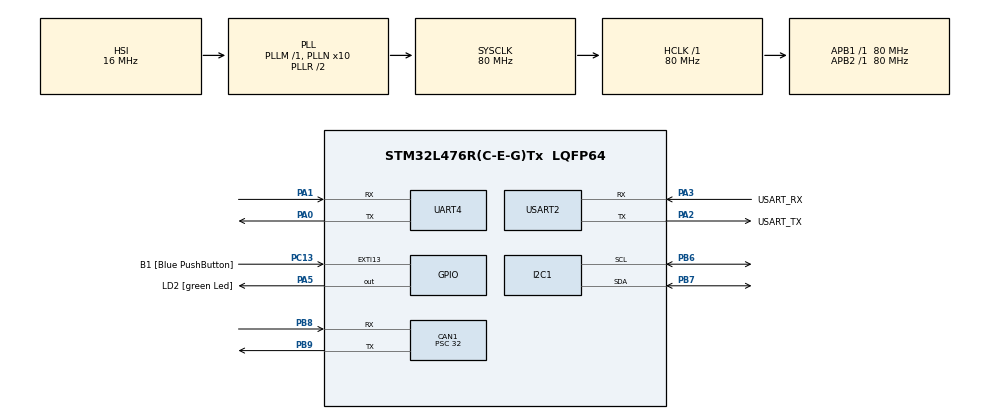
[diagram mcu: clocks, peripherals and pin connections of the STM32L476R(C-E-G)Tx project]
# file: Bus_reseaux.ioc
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CAN1.BS1=CAN_BS1_3TQ
CAN1.CalculateBaudRate=500000
CAN1.CalculateTimeBit=2000.00
CAN1.CalculateTimeQuantum=400.0
CAN1.Prescaler=32
I2C1.Timing=0x10909CEC
Mcu.Family=STM32L4
Mcu.Name=STM32L476R(C-E-G)Tx
Mcu.Package=LQFP64
NVIC.CAN1_TX_IRQn=true\:0\:0\:false\:false\:true\:true\:true
NVIC.I2C1_EV_IRQn=true\:0\:0\:false\:false\:true\:true\:true
NVIC.PriorityGroup=NVIC_PRIORITYGROUP_4
NVIC.UART4_IRQn=true\:0\:0\:false\:false\:true\:true\:true
NVIC.USART2_IRQn=true\:0\:0\:false\:false\:true\:true\:true
PA0.Mode=Asynchronous
PA0.Signal=UART4_TX
PA1.Mode=Asynchronous
PA1.Signal=UART4_RX
PA13\ (JTMS-SWDIO).GPIO_Label=TMS
PA13\ (JTMS-SWDIO).Mode=Serial_Wire
PA13\ (JTMS-SWDIO).Signal=SYS_JTMS-SWDIO
PA14\ (JTCK-SWCLK).GPIO_Label=TCK
PA14\ (JTCK-SWCLK).Mode=Serial_Wire
PA14\ (JTCK-SWCLK).Signal=SYS_JTCK-SWCLK
PA2.GPIO_Label=USART_TX
PA2.GPIO_Mode=GPIO_MODE_AF_PP
PA2.GPIO_PuPd=GPIO_NOPULL
PA2.GPIO_Speed=GPIO_SPEED_FREQ_VERY_HIGH
PA2.Mode=Asynchronous
PA2.Signal=USART2_TX
PA3.GPIO_Label=USART_RX
PA3.GPIO_Mode=GPIO_MODE_AF_PP
PA3.GPIO_PuPd=GPIO_NOPULL
PA3.GPIO_Speed=GPIO_SPEED_FREQ_VERY_HIGH
PA3.Mode=Asynchronous
PA3.Signal=USART2_RX
PA5.GPIO_Label=LD2 [green Led]
PA5.GPIO_ModeDefaultOutputPP=GPIO_MODE_OUTPUT_PP
PA5.GPIO_PuPd=GPIO_NOPULL
PA5.GPIO_Speed=GPIO_SPEED_FREQ_LOW
PA5.Signal=GPIO_Output
PB3\ (JTDO-TRACESWO).GPIO_Label=SWO
PB3\ (JTDO-TRACESWO).Signal=SYS_JTDO-SWO
PB6.Mode=I2C
PB6.Signal=I2C1_SCL
PB7.Mode=I2C
PB7.Signal=I2C1_SDA
PB8.Mode=CAN_Activate
PB8.Signal=CAN1_RX
PB9.Mode=CAN_Activate
PB9.Signal=CAN1_TX
PC13.GPIO_Label=B1 [Blue PushButton]
PC13.GPIO_ModeDefaultEXTI=GPIO_MODE_IT_FALLING
PC13.GPIO_PuPd=GPIO_NOPULL
PC13.Signal=GPXTI13
PC14-OSC32_IN\ (PC14).Mode=LSE-External-Oscillator
PC14-OSC32_IN\ (PC14).Signal=RCC_OSC32_IN
PC15-OSC32_OUT\ (PC15).Mode=LSE-External-Oscillator
PC15-OSC32_OUT\ (PC15).Signal=RCC_OSC32_OUT
PH0-OSC_IN\ (PH0).Signal=RCC_OSC_IN
PH1-OSC_OUT\ (PH1).Signal=RCC_OSC_OUT
ProjectManager.HeapSize=0x200
ProjectManager.StackSize=0x400
ProjectManager.TargetToolchain=STM32CubeIDE
RCC.ADCFreq_Value=64000000
RCC.AHBFreq_Value=80000000
RCC.APB1Freq_Value=80000000
RCC.APB1TimFreq_Value=80000000
RCC.APB2Freq_Value=80000000
RCC.APB2TimFreq_Value=80000000
RCC.CortexFreq_Value=80000000
RCC.HCLKFreq_Value=80000000
RCC.HSE_VALUE=8000000
RCC.HSI_VALUE=16000000
RCC.MSI_VALUE=4000000
RCC.PLLN=10
RCC.PLLSourceVirtual=RCC_PLLSOURCE_HSI
RCC.PREFETCH_ENABLE=1
RCC.SYSCLKFreq_VALUE=80000000
RCC.SYSCLKSource=RCC_SYSCLKSOURCE_PLLCLK
RCC.USBFreq_Value=64000000
RCC.VCOOutputFreq_Value=160000000
USART2.VirtualMode-Asynchronous=VM_ASYNC
board=NUCLEO-L476RG

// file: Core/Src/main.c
/* USER CODE BEGIN Header */
/**
 ******************************************************************************
 * @file           : main.c
 * @brief          : Main program body
 ******************************************************************************
 * @attention
 *
 * <h2><center>&copy; Copyright (c) 2021 STMicroelectronics.
 * All rights reserved.</center></h2>
 *
 * This software component is licensed by ST under BSD 3-Clause license,
 * the "License"; You may not use this file except in compliance with the
 * License. You may obtain a copy of the License at:
 *                        opensource.org/licenses/BSD-3-Clause
 *
 ******************************************************************************
 */
/* USER CODE END Header */
#include "main.h"
#include "can.h"
#include "i2c.h"
#include "usart.h"
#include "gpio.h"

/* USER CODE BEGIN Includes */
#include <stdio.h>
#include <stdlib.h>
//#include "shell.h"
#include <string.h>
/* USER CODE END Includes */

/* USER CODE BEGIN PV */
int it_uart = 0;
int it_uart4 = 0;
char uart_rx_buffer[64];
char uart_tx_buffer[64];
char uart4_rx_buffer[64];
char uart4_tx_buffer[64];
char prompt[256]="Guerin/Perret >>> \r\n";
char start[256]="Starting... \r\n";
uint8_t i2c_t_buffer[1] = {0xD0} ;
uint8_t i2c_r_buffer[1];
uint8_t i2c_t_conf_buffer[2] = {0xF4, 0x57} ;
uint8_t i2c_t_calibration_buffer[1]={0x88}; /*creating buffer to get calibration values
with I2C HAL functions
 */

uint8_t i2c_r_conf_buffer[1];
uint8_t i2c_t_data_buffer[1]= {0xF7};
uint8_t i2c_r_data_buffer[6];
uint32_t pres;
uint32_t temp;
uint32_t p;
uint32_t t,t_comp;

/* USER CODE END PV */

void SystemClock_Config(void);

int main(void)
{

	/* MCU Configuration--------------------------------------------------------*/

	/* Reset of all peripherals, Initializes the Flash interface and the Systick. */
	HAL_Init();

	/* Configure the system clock */
	SystemClock_Config();

	/* Initialize all configured peripherals */
	MX_GPIO_Init();
	MX_USART2_UART_Init();
	MX_CAN1_Init();
	MX_UART4_Init();
	MX_I2C1_Init();
	/* USER CODE BEGIN 2 */
	printf("Starting...\r\n");
	HAL_UART_Receive_IT(&huart2, uart_rx_buffer, 1); //activer l'UART STM<-->Ordi
	HAL_UART_Receive_IT(&huart4, uart_rx_buffer, 1); //activer l'UART STM<-->Raspberry

	//identification du BMP280
	HAL_I2C_Master_Transmit(&hi2c1, 0x77<<1, i2c_t_buffer, 1, HAL_MAX_DELAY);
	HAL_I2C_Master_Receive(&hi2c1, 0x77<<1, i2c_r_buffer, 1, HAL_MAX_DELAY);
	printf("%x \r\n", i2c_r_buffer[0]);

	//configuration du BMP280
	HAL_I2C_Master_Transmit(&hi2c1, 0x77<<1, i2c_t_conf_buffer, 2, HAL_MAX_DELAY);
	HAL_I2C_Master_Receive(&hi2c1, 0x77<<1, i2c_r_conf_buffer, 1, HAL_MAX_DELAY);
	printf("%x \r\n", i2c_r_conf_buffer[0]);
	//configuring CAN
	uint8_t message[2]={0x54,0x01};
	uint8_t zero[2]={0x54,0x00};
	uint32_t mail;

	HAL_CAN_Start (&hcan1);
	CAN_TxHeaderTypeDef TxHeader;
	TxHeader.StdId=0x61;
	TxHeader.IDE=CAN_ID_STD;
	TxHeader.RTR=CAN_RTR_DATA;
	TxHeader.DLC=2;
	TxHeader.TransmitGlobalTime=DISABLE;
	//Setting motor to zero
	HAL_CAN_AddTxMessage(&hcan1, &TxHeader, (uint8_t) {0x00,0x00} , &mail);
	HAL_Delay(100);

	/* USER CODE END 2 */

	/* Infinite loop */
	/* USER CODE BEGIN WHILE */
	while (1)
	{
		HAL_CAN_AddTxMessage(&hcan1, &TxHeader, message, &mail);
		//Send_CAN_Message(message,&hcan1,pHeader,mail);
		//to code with tasks
		HAL_Delay(1000);
		HAL_CAN_AddTxMessage(&hcan1, &TxHeader, zero, &mail);
		HAL_Delay(1000);
		//Send_CAN_Message(zero,&hcan1,pHeader,mail);

		//echo - affichage sur la console
		if(it_uart==1){
			//uart_tx_buffer[1] = uart_rx_buffer[1];
			//printf("Lettre = %c \r\n", uart_tx_buffer[1]);
			it_uart = 0;

		}

		//interprétation des commandes envoyées par la raspberry et réponse du STM
		if(it_uart4==1){
			HAL_I2C_Master_Transmit(&hi2c1, 0x77<<1, i2c_t_data_buffer, 1, 50);
			HAL_I2C_Master_Receive(&hi2c1, 0x77<<1, i2c_r_data_buffer, 6, 50);
			pres = i2c_r_data_buffer[0]<<12 | i2c_r_data_buffer[1]<<4 | i2c_r_data_buffer[2]>>4;
			temp = i2c_r_data_buffer[3]<<12 | i2c_r_data_buffer[4]<<4 | i2c_r_data_buffer[5]>>4;
			//Rotation du moteur selon la température extérieure
			if(uart4_rx_buffer[0]=='G'){
				if(uart4_rx_buffer[4]=='T'){
					//on demande T donc on veut renvoyer 'T=val' donc on doit mettre ça dans le buffer à transmettre
					printf("T = %x H \r\n", temp);
					/*uart4_tx_buffer[0]='T';
					uart4_tx_buffer[1]='=';
					uart4_tx_buffer[2]=temp;
					HAL_UART_Transmit(&huart4, uart4_tx_buffer, 3, 50);*/
				}
				if(uart4_rx_buffer[4]=='P'){
					//on demande P donc on veut renvoyer 'P=val' donc on doit mettre ça dans le buffer à transmettre
					printf("P = %x H \r\n", pres);
					/*uart4_tx_buffer[0]='P';
					uart4_tx_buffer[1]='=';
					uart4_tx_buffer[2]=pres;
					HAL_UART_Transmit(&huart4, uart4_tx_buffer, 3, 50);*/
				}
			}
			it_uart4 =0;
		}

		/*Affichage de la temp et de la press non compensés*/
		HAL_I2C_Master_Transmit(&hi2c1, 0x77<<1, i2c_t_data_buffer, 1, 50);
		HAL_I2C_Master_Receive(&hi2c1, 0x77<<1, i2c_r_data_buffer, 6, 50);
		p = i2c_r_data_buffer[0]<<12 | i2c_r_data_buffer[1]<<4 | i2c_r_data_buffer[2]>>4;
		t = i2c_r_data_buffer[3]<<12 | i2c_r_data_buffer[4]<<4 | i2c_r_data_buffer[5]>>4;
		printf("Debut \r\n");
		printf("Pression : %d et Temperature %d \r\n", p, t);
		//compensation maison
		t_comp=i2c_r_data_buffer[3]<<12/100;
		printf("Temperature compensée: %d \r\n",t_comp);
		printf("Fin \r\n");
		HAL_Delay(5000);

		/* USER CODE END WHILE */

	}
}
void SystemClock_Config(void)
{
	RCC_OscInitTypeDef RCC_OscInitStruct = {0};
	RCC_ClkInitTypeDef RCC_ClkInitStruct = {0};

	/** Configure the main internal regulator output voltage
	 */
	if (HAL_PWREx_ControlVoltageScaling(PWR_REGULATOR_VOLTAGE_SCALE1) != HAL_OK)
	{
		Error_Handler();
	}
	/** Initializes the RCC Oscillators according to the specified parameters
	 * in the RCC_OscInitTypeDef structure.
	 */
	RCC_OscInitStruct.OscillatorType = RCC_OSCILLATORTYPE_HSI;
	RCC_OscInitStruct.HSIState = RCC_HSI_ON;
	RCC_OscInitStruct.HSICalibrationValue = RCC_HSICALIBRATION_DEFAULT;
	RCC_OscInitStruct.PLL.PLLState = RCC_PLL_ON;
	RCC_OscInitStruct.PLL.PLLSource = RCC_PLLSOURCE_HSI;
	RCC_OscInitStruct.PLL.PLLM = 1;
	RCC_OscInitStruct.PLL.PLLN = 10;
	RCC_OscInitStruct.PLL.PLLP = RCC_PLLP_DIV7;
	RCC_OscInitStruct.PLL.PLLQ = RCC_PLLQ_DIV2;
	RCC_OscInitStruct.PLL.PLLR = RCC_PLLR_DIV2;
	if (HAL_RCC_OscConfig(&RCC_OscInitStruct) != HAL_OK)
	{
		Error_Handler();
	}
	/** Initializes the CPU, AHB and APB buses clocks
	 */
	RCC_ClkInitStruct.ClockType = RCC_CLOCKTYPE_HCLK|RCC_CLOCKTYPE_SYSCLK
			|RCC_CLOCKTYPE_PCLK1|RCC_CLOCKTYPE_PCLK2;
	RCC_ClkInitStruct.SYSCLKSource = RCC_SYSCLKSOURCE_PLLCLK;
	RCC_ClkInitStruct.AHBCLKDivider = RCC_SYSCLK_DIV1;
	RCC_ClkInitStruct.APB1CLKDivider = RCC_HCLK_DIV1;
	RCC_ClkInitStruct.APB2CLKDivider = RCC_HCLK_DIV1;

	if (HAL_RCC_ClockConfig(&RCC_ClkInitStruct, FLASH_LATENCY_4) != HAL_OK)
	{
		Error_Handler();
	}
}

/* USER CODE BEGIN 4 */
void HAL_UART_RxCpltCallback(UART_HandleTypeDef *huart)
{
	if(huart==&huart4){
		it_uart4 = 1;
		HAL_UART_Receive_IT(&huart4, uart4_rx_buffer, 1);
	}
	if(huart==&huart2){
		it_uart = 1;
		HAL_UART_Receive_IT(&huart2, uart_rx_buffer, 5); //commande de la rasp sur 5 caractères (GET_X)
	}

}

/* USER CODE END 4 */

void Error_Handler(void)
{
	__disable_irq();
	while (1)
	{
	}
}

/************************ (C) COPYRIGHT STMicroelectronics *****END OF FILE****/
